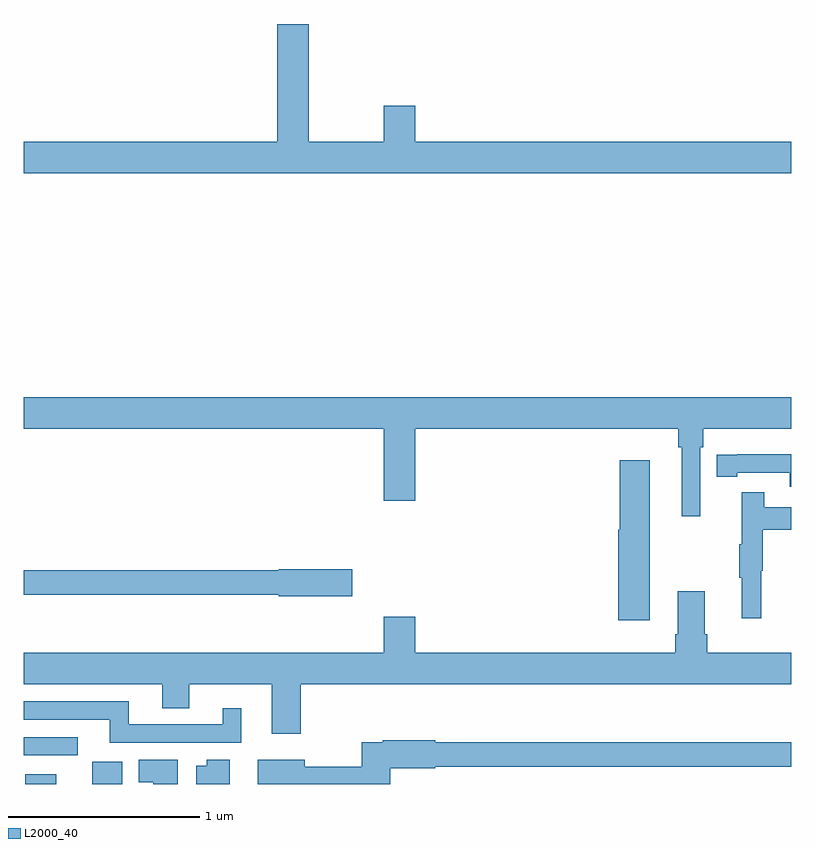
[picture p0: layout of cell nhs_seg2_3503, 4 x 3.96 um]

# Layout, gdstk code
import gdstk
lib = gdstk.Library(unit=1e-6, precision=1e-09)
def R(c, l, rs):  # rectangles x0, y0, x1, y1
    for r in rs: c.add(gdstk.rectangle(r[:2], r[2:], *l))
def P(c, l, *ps):  # polygons
    for p in ps: c.add(gdstk.Polygon(p, *l))
L2000_40 = (2000, 40)

nhs_seg2_3503 = lib.new_cell('nhs_seg2_3503')
R(nhs_seg2_3503, L2000_40, [(295.007,629.8,295.168,629.851), (295.355,629.8,295.513,629.916), (295,629.949,295.281,630.045)])
P(nhs_seg2_3503, L2000_40, [(299,633.148),(297.04,633.148),(297.04,633.337),(296.876,633.337),(296.876,633.148),(296.485,633.148),(296.485,633.763),(296.321,633.763),(296.321,633.148),(295,633.148),(295,632.984),(299,632.984)],
  [(298.527,631.556),(298.541,631.556),(298.541,631.652),(299,631.652),(299,631.816),(295,631.816),(295,631.652),(296.876,631.652),(296.876,631.278),(297.04,631.278),(297.04,631.652),(298.411,631.652),(298.411,631.556),(298.43,631.556),(298.43,631.197),(298.527,631.197)],
  [(299,631.519),(298.72,631.519),(298.72,631.518),(298.612,631.518),(298.612,631.402),(298.72,631.402),(298.72,631.422),(298.992,631.422),(298.992,631.35),(299,631.35)],
  [(298.264,631.489),(298.106,631.489),(298.106,631.125),(298.1,631.125),(298.1,630.654),(298.264,630.654)],
  [(298.844,630.912),(298.852,630.912),(298.852,631.126),(299,631.126),(299,631.242),(298.859,631.242),(298.859,631.321),(298.742,631.321),(298.742,631.049),(298.731,631.049),(298.731,630.875),(298.742,630.875),(298.742,630.663),(298.844,630.663)],
  [(296.713,630.92),(296.328,630.92),(296.328,630.914),(295,630.914),(295,630.786),(296.328,630.786),(296.328,630.778),(296.713,630.778)],
  [(296.444,630.32),(299,630.32),(299,630.484),(298.562,630.484),(298.562,630.58),(298.549,630.58),(298.549,630.805),(298.409,630.805),(298.409,630.58),(298.397,630.58),(298.397,630.484),(297.04,630.484),(297.04,630.673),(296.876,630.673),(296.876,630.484),(295,630.484),(295,630.32),(295.721,630.32),(295.721,630.196),(295.861,630.196),(295.861,630.32),(296.291,630.32),(296.291,630.063),(296.444,630.063)],
  [(296.134,630.196),(296.036,630.196),(296.036,630.111),(295.546,630.111),(295.546,630.231),(295,630.231),(295,630.135),(295.448,630.135),(295.448,630.015),(296.134,630.015)],
  [(296.909,629.882),(297.144,629.882),(297.144,629.89),(299,629.89),(299,630.019),(297.144,630.019),(297.144,630.027),(296.872,630.027),(296.872,630.019),(296.761,630.019),(296.761,629.89),(296.464,629.89),(296.464,629.926),(296.219,629.926),(296.219,629.8),(296.909,629.8)],
  [(295.801,629.926),(295.599,629.926),(295.599,629.81),(295.673,629.81),(295.673,629.8),(295.801,629.8)],
  [(296.074,629.926),(295.952,629.926),(295.952,629.896),(295.898,629.896),(295.898,629.8),(296.074,629.8)])

lib.write_gds('nhs_seg2_3503.gds')
